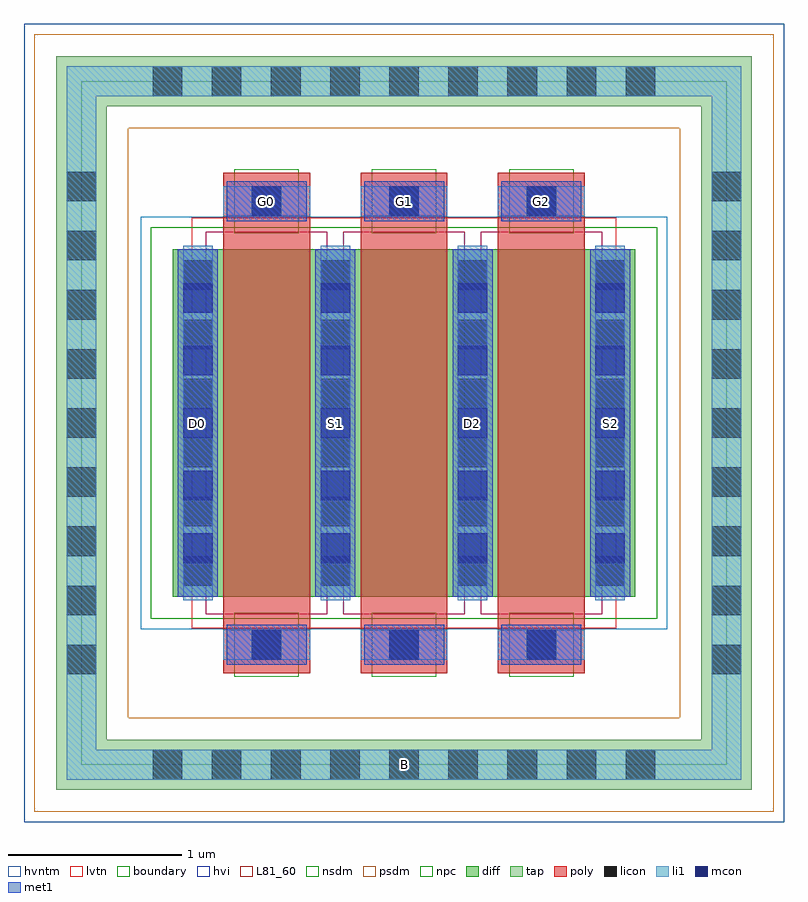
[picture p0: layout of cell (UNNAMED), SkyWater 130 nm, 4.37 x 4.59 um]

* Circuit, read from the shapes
.subckt (UNNAMED) B D0 D2 G0 G1 G2 S1 S2
XM1 S1 G0 D0 B sky130_fd_pr__nfet_05v0_nvt w=2 l=0.5
XM2 D2 G1 S1 B sky130_fd_pr__nfet_05v0_nvt w=2 l=0.5
XM3 S2 G2 D2 B sky130_fd_pr__nfet_05v0_nvt w=2 l=0.5
.ends

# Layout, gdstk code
import gdstk
lib = gdstk.Library(unit=1e-6, precision=1e-09)
def R(c, l, rs):  # rectangles x0, y0, x1, y1
    for r in rs: c.add(gdstk.rectangle(r[:2], r[2:], *l))
def A(c, l, x, y, w, h, nx, ny, dx, dy):  # array of equal rectangles
    R(c, l, [(x+i*dx, y+j*dy, x+i*dx+w, y+j*dy+h) for i in range(nx) for j in range(ny)])
diff = (65, 20)
tap = (65, 44)
poly = (66, 20)
licon = (66, 44)
li1 = (67, 20)
mcon = (67, 44)
met1 = (68, 20)
hvi = (75, 20)
L81_60 = (81, 60)
nsdm = (93, 44)
psdm = (94, 20)
npc = (95, 20)
hvntm = (125, 20)
lvtn = (125, 44)
boundary = (235, 4)

c__unnamed_ = lib.new_cell('(UNNAMED)')
R(c__unnamed_, diff, [(-1.33,-1,1.33,1)])
R(c__unnamed_, tap, [(-2,-2.11,2,-1.82), (-2,-1.82,-1.71,1.82), (1.71,-1.82,2,1.82), (-2,1.82,2,2.11)])
A(c__unnamed_, poly, -1.04, -1.44, 0.5, 2.88, 3, 1, 0.79, 0)
A(c__unnamed_, licon, -1.445, -2.05, 0.17, 0.17, 9, 2, 0.34, 3.93)
A(c__unnamed_, licon, -1.94, -1.445, 0.17, 0.17, 1, 9, 0, 0.34)
A(c__unnamed_, licon, 1.77, -1.445, 0.17, 0.17, 1, 9, 0, 0.34)
A(c__unnamed_, licon, -0.875, -1.36, 0.17, 0.17, 3, 2, 0.79, 2.55)
A(c__unnamed_, licon, -1.27, -0.935, 0.17, 0.17, 4, 6, 0.79, 0.34)
A(c__unnamed_, li1, -1.04, -1.36, 0.5, 0.17, 3, 2, 0.79, 2.55)
A(c__unnamed_, li1, -1.27, -1.02, 0.17, 2.04, 4, 1, 0.79, 0)
R(c__unnamed_, li1, [(-1.94,-2.05,1.94,-1.88), (-1.94,-1.88,-1.77,1.88), (1.77,-1.88,1.94,1.88), (-1.94,1.88,1.94,2.05)])
A(c__unnamed_, mcon, -0.875, -1.36, 0.17, 0.17, 3, 2, 0.79, 2.55)
A(c__unnamed_, mcon, -1.27, -0.805, 0.17, 0.17, 4, 5, 0.79, 0.36)
A(c__unnamed_, met1, -1.02, -1.39, 0.46, 0.23, 3, 2, 0.79, 2.55)
A(c__unnamed_, met1, -1.3, -1, 0.23, 2, 4, 1, 0.79, 0)
R(c__unnamed_, hvi, [(-2.185,-2.295,2.185,2.295)])
A(c__unnamed_, L81_60, -1.14, -1.1, 0.7, 2.2, 3, 1, 0.79, 0)
R(c__unnamed_, nsdm, [(-1.455,-1.125,1.455,1.125)])
R(c__unnamed_, psdm, [(-2.125,-2.235,2.125,-1.695), (-2.125,-1.695,-1.585,1.695), (1.585,-1.695,2.125,1.695), (-2.125,1.695,2.125,2.235)])
A(c__unnamed_, npc, -0.975, -1.46, 0.37, 0.37, 3, 2, 0.79, 2.55)
R(c__unnamed_, hvntm, [(-1.515,-1.185,1.515,1.185)])
R(c__unnamed_, lvtn, [(-1.22,-1.18,1.22,1.18)])
R(c__unnamed_, boundary, [(-1.855,-1.965,1.855,1.965)])
c__unnamed_.add(gdstk.Label('B', (0,-1.965), layer=67, texttype=5))
c__unnamed_.add(gdstk.Label('D0', (-1.185,0), layer=67, texttype=5))
c__unnamed_.add(gdstk.Label('G0', (-0.79,1.275), layer=67, texttype=5))
c__unnamed_.add(gdstk.Label('S1', (-0.395,0), layer=67, texttype=5))
c__unnamed_.add(gdstk.Label('G1', (0,1.275), layer=67, texttype=5))
c__unnamed_.add(gdstk.Label('D2', (0.395,0), layer=67, texttype=5))
c__unnamed_.add(gdstk.Label('S2', (1.185,0), layer=67, texttype=5))
c__unnamed_.add(gdstk.Label('G2', (0.79,1.275), layer=67, texttype=5))

lib.write_gds('_UNNAMED_.gds')
